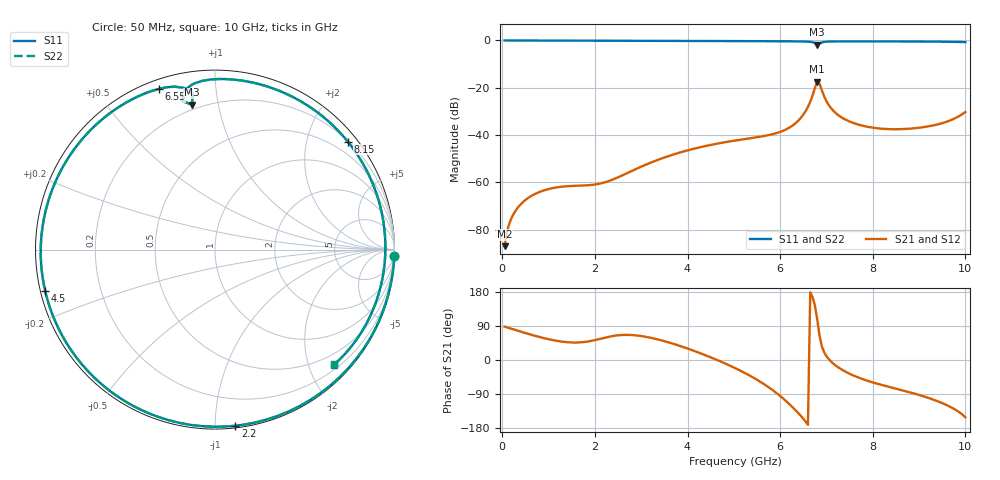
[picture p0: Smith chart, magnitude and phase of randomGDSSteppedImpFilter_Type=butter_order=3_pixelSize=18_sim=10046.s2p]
! freq	dB(S11)	phase(S11)	dB(S12)	phase(S12)
!  dB(S21)	phase(S21)	dB(S22)	phase(S22)
!S-par simulation data
#  GHz  S  DB  R 50
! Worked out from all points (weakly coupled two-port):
!   200 points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, 50 MHz to 10 GHz, reference 50 ohm
!   highest |S21| = -17.45 dB at 6.8 GHz (marker M1); lowest = -87.0 dB at 50 MHz (marker M2)
!   lowest |S11| = -1.8 dB at 6.8 GHz (marker M3), VSWR 9.96, Z = 8.62 + j42 ohm
!   |S11| at or under -10 dB: nowhere
!   |S22| runs from -1.8 to 0.0 dB; largest |S21 - S12| = 0
!   S11 on the Smith chart (normalised r, x): 50 MHz: 0, -58; 2.2 GHz: 0.01, -1.12; 4.5 GHz: 0.01, -0.12; 6.55 GHz: 0.04, +0.71; 8.15 GHz: 0.21, +2.80; 10 GHz: 0.29, -2.45
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0.05  -0.00 -2.0  -86.99 88.1  -86.99 88.1  -0.00 -2.0
0.1  -0.01 -3.9  -80.98 86.2  -80.98 86.2  -0.01 -3.9
0.35  -0.02 -13.6  -70.32 76.6  -70.32 76.6  -0.02 -13.6
0.65  -0.03 -25.2  -65.49 65.7  -65.49 65.7  -0.03 -25.3
1.1  -0.05 -42.5  -62.38 52.3  -62.38 52.3  -0.05 -42.5
1.75  -0.09 -66.9  -61.35 47.2  -61.35 47.2  -0.09 -66.9
2.2  -0.11 -83.4  -60.07 58.5  -60.07 58.5  -0.11 -83.5
3.4  -0.16 -126.6  -50.20 53.0  -50.20 53.0  -0.16 -126.6
4.5  -0.23 -166.4  -44.17 7.0  -44.17 7.0  -0.23 -166.5
5.05  -0.27 172.8  -42.26 -22.7  -42.26 -22.7  -0.27 172.7
6.05  -0.35 132.2  -38.30 -100.1  -38.30 -100.1  -0.35 132.2
6.35  -0.39 118.9  -34.68 -134.6  -34.68 -134.6  -0.39 118.9
6.55  -0.46 109.4  -29.88 -162.5  -29.88 -162.5  -0.46 109.3
6.7  -0.74 101.0  -23.28 165.2  -23.28 165.2  -0.74 100.9
6.8  -1.75 99.0  -17.45 107.6  -17.45 107.6  -1.77 99.0
6.9  -0.84 100.5  -21.04 36.5  -21.04 36.5  -0.85 100.6
7.05  -0.47 91.5  -27.33 2.2  -27.33 2.2  -0.47 91.6
7.25  -0.41 81.4  -31.51 -19.0  -31.51 -19.0  -0.41 81.4
8.15  -0.41 39.1  -37.25 -64.4  -37.25 -64.4  -0.41 39.2
8.35  -0.42 29.9  -37.50 -70.8  -37.50 -70.8  -0.42 30.0
9.15  -0.47 -6.0  -36.50 -98.0  -36.50 -98.0  -0.47 -6.0
10  -0.70 -44.0  -30.24 -151.3  -30.24 -151.3  -0.70 -43.9
